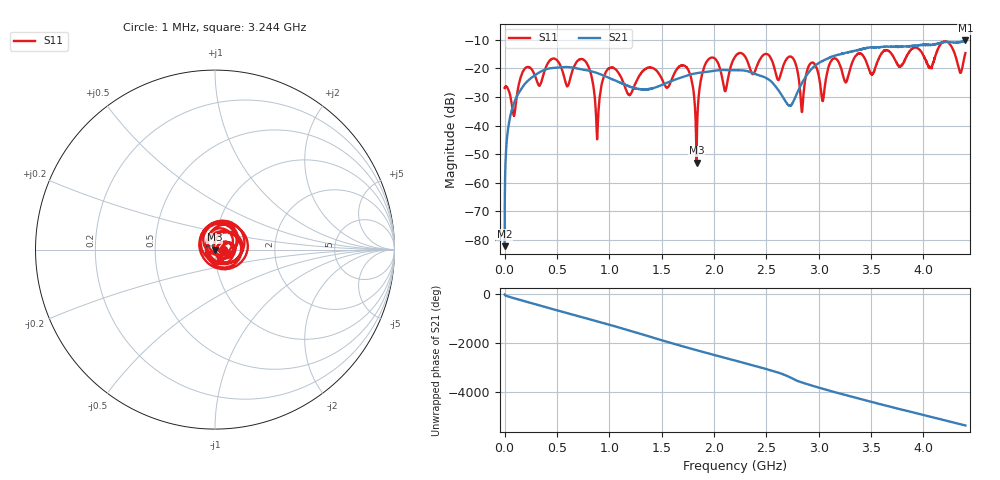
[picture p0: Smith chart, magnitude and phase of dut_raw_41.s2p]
!Created with skrf (http://scikit-rf.org).
# Hz S RI R 50.0
!freq ReS11 ImS11 ReS21 ImS21 ReS12 ImS12 ReS22 ImS22
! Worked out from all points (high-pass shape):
!   4400 points, 1 MHz to 4.4 GHz, reference 50 ohm
!   highest |S21| = -10.23 dB at 4.4 GHz (marker M1); lowest = -82.1 dB at 1 MHz (marker M2)
!   |S21| within 3 dB of the highest: 3.413328 GHz to 3.414365 GHz (1.037 MHz wide, 0.0304 % of centre); 3.416 GHz to end of sweep
!   lowest |S11| = -52.9 dB at 1.833 GHz (marker M3), VSWR 1.00, Z = 49.8 - j0.00746 ohm
!   |S11| at or under -10 dB: start of sweep to end of sweep
!   S12 and S22 are empty: the file has one direction only
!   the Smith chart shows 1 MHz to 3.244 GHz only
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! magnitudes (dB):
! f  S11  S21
! 1 MHz  -26.8  -82.1
! 38 MHz  -27.6  -40.1
! 90 MHz  -36.6  -32.2
! 136 MHz  -25.7  -28.4
! 735 MHz  -16.7  -20.3
! 885 MHz  -44.4  -21.6
! 997 MHz  -20.0  -23.3
! 1.191 GHz  -29.3  -26.3
! 1.468 GHz  -21.5  -26.3
! 1.737 GHz  -19.6  -22.6
! 1.833 GHz  -52.9  -21.7
! 1.932 GHz  -17.5  -21.2
! 2.107 GHz  -27.9  -20.6
! 2.201 GHz  -15.9  -20.6
! 2.74 GHz  -16.0  -32.7
! 2.84 GHz  -35.3  -25.2
! 2.934 GHz  -18.0  -20.1
! 3.038 GHz  -31.4  -17.4
! 3.137 GHz  -16.7  -15.7
! 3.259 GHz  -24.9  -14.6
! 3.667 GHz  -13.9  -12.4
! 4.4 GHz  -14.6  -10.2
